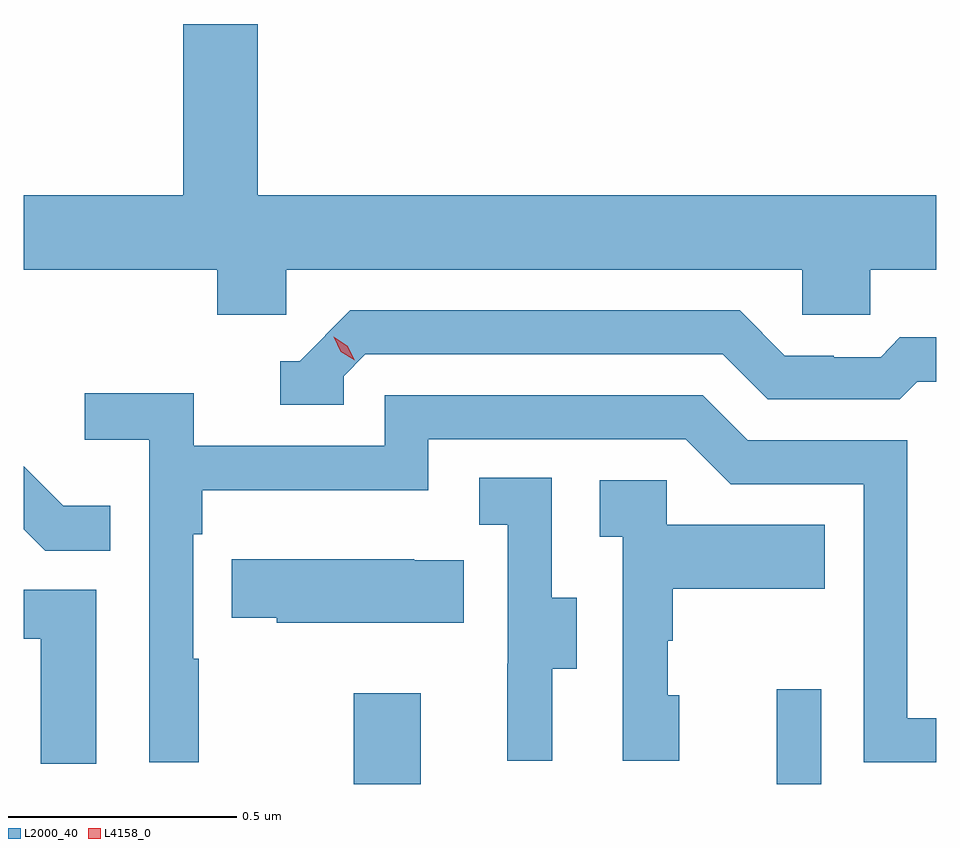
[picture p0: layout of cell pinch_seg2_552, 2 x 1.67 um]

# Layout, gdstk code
import gdstk
lib = gdstk.Library(unit=1e-6, precision=1e-09)
def R(c, l, rs):  # rectangles x0, y0, x1, y1
    for r in rs: c.add(gdstk.rectangle(r[:2], r[2:], *l))
def P(c, l, *ps):  # polygons
    for p in ps: c.add(gdstk.Polygon(p, *l))
L2000_40 = (2000, 40)
L4158_0 = (4158, 0)

pinch_seg2_552 = lib.new_cell('pinch_seg2_552')
R(pinch_seg2_552, L2000_40, [(1142.404,614.541,1142.551,614.74), (1143.332,614.541,1143.429,614.749)])
P(pinch_seg2_552, L2000_40, [(1142.256,615.668),(1143.387,615.668),(1143.387,615.57),(1143.537,615.57),(1143.537,615.668),(1143.681,615.668),(1143.681,615.832),(1142.194,615.832),(1142.194,616.207),(1142.03,616.207),(1142.03,615.832),(1141.681,615.832),(1141.681,615.668),(1142.105,615.668),(1142.105,615.57),(1142.256,615.57)],
  [(1142.382,615.435),(1142.43,615.483),(1143.213,615.483),(1143.312,615.384),(1143.601,615.384),(1143.64,615.423),(1143.681,615.423),(1143.681,615.52),(1143.601,615.52),(1143.559,615.477),(1143.456,615.477),(1143.456,615.48),(1143.349,615.48),(1143.25,615.579),(1142.397,615.579),(1142.286,615.468),(1142.243,615.468),(1142.243,615.372),(1142.382,615.372)],
  [(1142.065,614.816),(1142.052,614.816),(1142.052,615.089),(1142.072,615.089),(1142.072,615.185),(1142.568,615.185),(1142.568,615.297),(1143.132,615.297),(1143.231,615.198),(1143.522,615.198),(1143.522,614.589),(1143.681,614.589),(1143.681,614.685),(1143.618,614.685),(1143.618,615.294),(1143.268,615.294),(1143.169,615.393),(1142.472,615.393),(1142.472,615.282),(1142.054,615.282),(1142.054,615.398),(1141.815,615.398),(1141.815,615.296),(1141.956,615.296),(1141.956,614.589),(1142.065,614.589)],
  [(1141.871,615.151),(1141.767,615.151),(1141.681,615.237),(1141.681,615.099),(1141.728,615.052),(1141.871,615.052)],
  [(1142.839,614.794),(1142.893,614.794),(1142.893,614.949),(1142.838,614.949),(1142.838,615.212),(1142.679,615.212),(1142.679,615.109),(1142.742,615.109),(1142.742,614.805),(1142.741,614.805),(1142.741,614.592),(1142.839,614.592)],
  [(1143.118,614.736),(1143.093,614.736),(1143.093,614.855),(1143.103,614.855),(1143.103,614.969),(1143.437,614.969),(1143.437,615.109),(1143.09,615.109),(1143.09,615.207),(1142.943,615.207),(1142.943,615.083),(1142.994,615.083),(1142.994,614.592),(1143.118,614.592)],
  [(1142.645,615.031),(1142.537,615.031),(1142.537,615.034),(1142.137,615.034),(1142.137,614.905),(1142.235,614.905),(1142.235,614.894),(1142.645,614.894)],
  [(1141.84,614.967),(1141.681,614.967),(1141.681,614.859),(1141.718,614.859),(1141.718,614.585),(1141.84,614.585)])
P(pinch_seg2_552, L4158_0, [(1142.406,615.47),(1142.376,615.489),(1142.36,615.521),(1142.36,615.521),(1142.36,615.521),(1142.39,615.502),(1142.406,615.47),(1142.406,615.47)])

lib.write_gds('pinch_seg2_552.gds')
